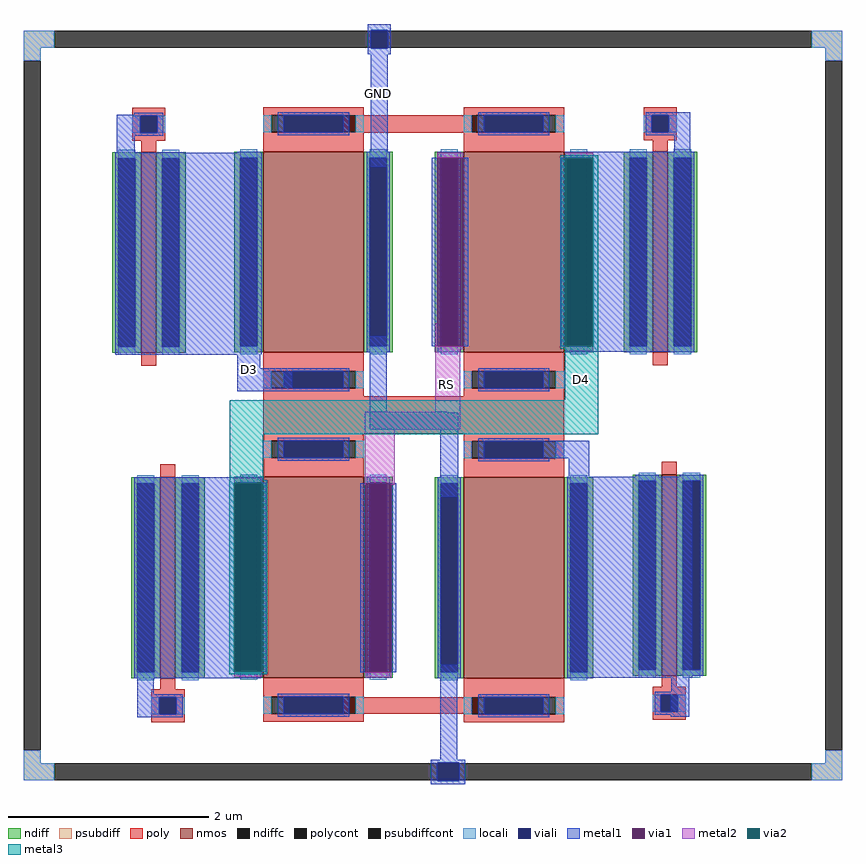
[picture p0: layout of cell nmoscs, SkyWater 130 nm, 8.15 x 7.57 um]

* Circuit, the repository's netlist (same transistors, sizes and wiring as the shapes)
** sch_path: /home/afgar/opamp/mag/nmoscs.sch
.subckt nmoscs D3 D4 RS GND
*.PININFO RS:B D3:B D4:B GND:B
XM3 D4 D3 RS GND sky130_fd_pr__nfet_01v8 L=1 W=2 nf=1 m=2
XM4 D3 D3 GND GND sky130_fd_pr__nfet_01v8 L=1 W=2 nf=1 m=2
XM1 D3 D3 D3 GND sky130_fd_pr__nfet_01v8 L=0.15 W=2 nf=1 m=2
XM2 D4 D4 D4 GND sky130_fd_pr__nfet_01v8 L=0.15 W=2 nf=1 m=2
.ends
.end

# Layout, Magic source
magic
tech sky130A
magscale 1 2
<< psubdiff >>
rect -419 695 -359 729
rect 1151 695 1211 729
rect -419 669 -385 695
rect 1177 669 1211 695
rect -419 -731 -385 -705
rect 1177 -731 1211 -705
rect -419 -765 -359 -731
rect 1151 -765 1211 -731
<< psubdiffcont >>
rect -359 695 1151 729
rect -419 -705 -385 669
rect 1177 -705 1211 669
rect -359 -765 1151 -731
<< poly >>
rect 217 525 482 560
rect 58 -74 657 0
rect 217 -632 486 -599
<< locali >>
rect -419 695 -359 729
rect 1151 695 1211 729
rect -419 669 -385 695
rect -419 -731 -385 -705
rect 1177 669 1211 695
rect 1177 -731 1211 -705
rect -419 -765 -359 -731
rect 1151 -765 1211 -731
<< viali >>
rect 272 729 306 730
rect 272 695 306 729
rect 272 694 306 695
rect 404 -731 448 -730
rect 404 -765 448 -731
rect 404 -766 448 -765
<< metal1 >>
rect 266 730 312 742
rect 266 694 272 730
rect 306 694 312 730
rect 266 682 312 694
rect -234 487 -198 561
rect -237 84 55 486
rect 272 458 306 682
rect 877 488 908 566
rect 659 476 915 488
rect -236 83 52 84
rect 6 56 52 83
rect 6 10 116 56
rect 270 -30 304 120
rect 394 100 404 476
rect 456 100 466 476
rect 651 100 661 476
rect 713 100 915 476
rect 659 89 915 100
rect 270 -32 424 -30
rect 270 -66 446 -32
rect -198 -172 53 -161
rect -198 -548 2 -172
rect 54 -548 64 -172
rect -198 -561 53 -548
rect 251 -549 261 -173
rect 313 -549 323 -173
rect 410 -200 446 -66
rect 619 -123 707 -88
rect 666 -160 707 -123
rect -193 -639 -160 -561
rect 410 -724 444 -534
rect 663 -560 912 -160
rect 871 -592 906 -560
rect 870 -638 906 -592
rect 392 -730 460 -724
rect 392 -766 404 -730
rect 448 -766 460 -730
rect 392 -772 460 -766
<< via1 >>
rect 404 100 456 476
rect 661 100 713 476
rect 2 -548 54 -172
rect 261 -549 313 -173
<< metal2 >>
rect 404 476 456 486
rect 400 100 404 146
rect 400 94 456 100
rect 659 476 715 486
rect 400 -30 450 94
rect 659 90 715 100
rect 260 -66 450 -30
rect 0 -172 56 -162
rect 260 -173 320 -66
rect 260 -176 261 -173
rect 0 -558 56 -548
rect 313 -176 320 -173
rect 261 -559 313 -549
<< via2 >>
rect 659 100 661 476
rect 661 100 713 476
rect 713 100 715 476
rect 0 -548 2 -172
rect 2 -548 54 -172
rect 54 -548 56 -172
<< metal3 >>
rect 649 476 725 481
rect 649 100 659 476
rect 715 100 725 476
rect 649 95 725 100
rect 658 -8 725 95
rect -9 -75 725 -8
rect -9 -167 58 -75
rect -10 -172 66 -167
rect -10 -548 0 -172
rect 56 -548 66 -172
rect -10 -553 66 -548
use sky130_fd_pr__nfet_01v8_7CP4KT  sky130_fd_pr__nfet_01v8_7CP4KT_0
transform 1 0 849 0 1 319
box -73 -257 73 257
use sky130_fd_pr__nfet_01v8_46AAJJ  sky130_fd_pr__nfet_01v8_46AAJJ_0
transform 1 0 158 0 1 288
box -158 -288 158 288
use sky130_fd_pr__nfet_01v8_46AAJJ  sky130_fd_pr__nfet_01v8_46AAJJ_1
transform 1 0 158 0 1 -360
box -158 -288 158 288
use sky130_fd_pr__nfet_01v8_46AAJJ  sky130_fd_pr__nfet_01v8_46AAJJ_2
transform 1 0 557 0 1 288
box -158 -288 158 288
use sky130_fd_pr__nfet_01v8_46AAJJ  sky130_fd_pr__nfet_01v8_46AAJJ_3
transform 1 0 557 0 1 -361
box -158 -288 158 288
use sky130_fd_pr__nfet_01v8_L2VWCK  sky130_fd_pr__nfet_01v8_L2VWCK_0
transform 1 0 -132 0 1 -392
box -73 -257 73 257
use sky130_fd_pr__nfet_01v8_LG94FM  sky130_fd_pr__nfet_01v8_LG94FM_0
transform 1 0 -170 0 1 318
box -73 -257 73 257
use sky130_fd_pr__nfet_01v8_SCJFGL  sky130_fd_pr__nfet_01v8_SCJFGL_0
transform 1 0 867 0 1 -387
box -73 -257 73 257
<< labels >>
flabel metal1 30 54 30 54 0 FreeSans 1600 0 0 0 D3
port 0 nsew
flabel metal2 422 24 422 24 0 FreeSans 1600 0 0 0 RS
port 1 nsew
flabel metal3 692 34 692 34 0 FreeSans 1600 0 0 0 D4
port 2 nsew
flabel metal1 288 604 288 604 0 FreeSans 1600 0 0 0 GND
port 3 nsew
<< end >>

# cell sky130_fd_pr__nfet_01v8_7CP4KT: kit device sky130_fd_pr__nfet_01v8, w 2 l 0.150 m 1 nf 1 diffcov 100 polycov 100 guard 0 glc 1 grc 1 gtc 1 gbc 1 tbcov 100 rlcov 100 topc 1 botc 0 poverlap 0 doverlap 0 lmin 0.15 wmin 0.42 compatible {sky130_fd_pr__nfet_01v8 sky130_fd_pr__nfet_01v8_lvt sky130_fd_bs_flash__special_sonosfet_star sky130_fd_pr__nfet_g5v0d10v5 sky130_fd_pr__nfet_05v0_nvt sky130_fd_pr__nfet_03v3_nvt} full_metal 1 viasrc 100 viadrn 100 viagate 100 viagb 0 viagr 0 viagl 0 viagt 0

# cell sky130_fd_pr__nfet_01v8_46AAJJ: kit device sky130_fd_pr__nfet_01v8, w 2 l 1 m 1 nf 1 diffcov 100 polycov 100 guard 0 glc 1 grc 1 gtc 1 gbc 1 tbcov 100 rlcov 100 topc 1 botc 1 poverlap 0 doverlap 1 lmin 0.15 wmin 0.42 compatible {sky130_fd_pr__nfet_01v8 sky130_fd_pr__nfet_01v8_lvt sky130_fd_bs_flash__special_sonosfet_star sky130_fd_pr__nfet_g5v0d10v5 sky130_fd_pr__nfet_05v0_nvt sky130_fd_pr__nfet_03v3_nvt} full_metal 1 viasrc 100 viadrn 100 viagate 70 viagb 0 viagr 0 viagl 0 viagt 0

# cell sky130_fd_pr__nfet_01v8_L2VWCK: kit device sky130_fd_pr__nfet_01v8, w 2 l 0.150 m 1 nf 1 diffcov 100 polycov 100 guard 0 glc 1 grc 1 gtc 1 gbc 1 tbcov 100 rlcov 100 topc 0 botc 1 poverlap 0 doverlap 1 lmin 0.15 wmin 0.42 compatible {sky130_fd_pr__nfet_01v8 sky130_fd_pr__nfet_01v8_lvt sky130_fd_bs_flash__special_sonosfet_star sky130_fd_pr__nfet_g5v0d10v5 sky130_fd_pr__nfet_05v0_nvt sky130_fd_pr__nfet_03v3_nvt} full_metal 1 viasrc 100 viadrn 100 viagate 70 viagb 0 viagr 0 viagl 0 viagt 0

# cell sky130_fd_pr__nfet_01v8_LG94FM: kit device sky130_fd_pr__nfet_01v8, w 2 l 0.150 m 1 nf 1 diffcov 100 polycov 100 guard 0 glc 1 grc 1 gtc 1 gbc 1 tbcov 100 rlcov 100 topc 1 botc 0 poverlap 0 doverlap 1 lmin 0.15 wmin 0.42 compatible {sky130_fd_pr__nfet_01v8 sky130_fd_pr__nfet_01v8_lvt sky130_fd_bs_flash__special_sonosfet_star sky130_fd_pr__nfet_g5v0d10v5 sky130_fd_pr__nfet_05v0_nvt sky130_fd_pr__nfet_03v3_nvt} full_metal 1 viasrc 100 viadrn 100 viagate 70 viagb 0 viagr 0 viagl 0 viagt 0

# cell sky130_fd_pr__nfet_01v8_SCJFGL: kit device sky130_fd_pr__nfet_01v8, w 2 l 0.150 m 1 nf 1 diffcov 100 polycov 100 guard 0 glc 1 grc 1 gtc 1 gbc 1 tbcov 100 rlcov 100 topc 0 botc 1 poverlap 0 doverlap 1 lmin 0.15 wmin 0.42 compatible {sky130_fd_pr__nfet_01v8 sky130_fd_pr__nfet_01v8_lvt sky130_fd_bs_flash__special_sonosfet_star sky130_fd_pr__nfet_g5v0d10v5 sky130_fd_pr__nfet_05v0_nvt sky130_fd_pr__nfet_03v3_nvt} full_metal 1 viasrc 100 viadrn 100 viagate 100 viagb 0 viagr 0 viagl 0 viagt 0
